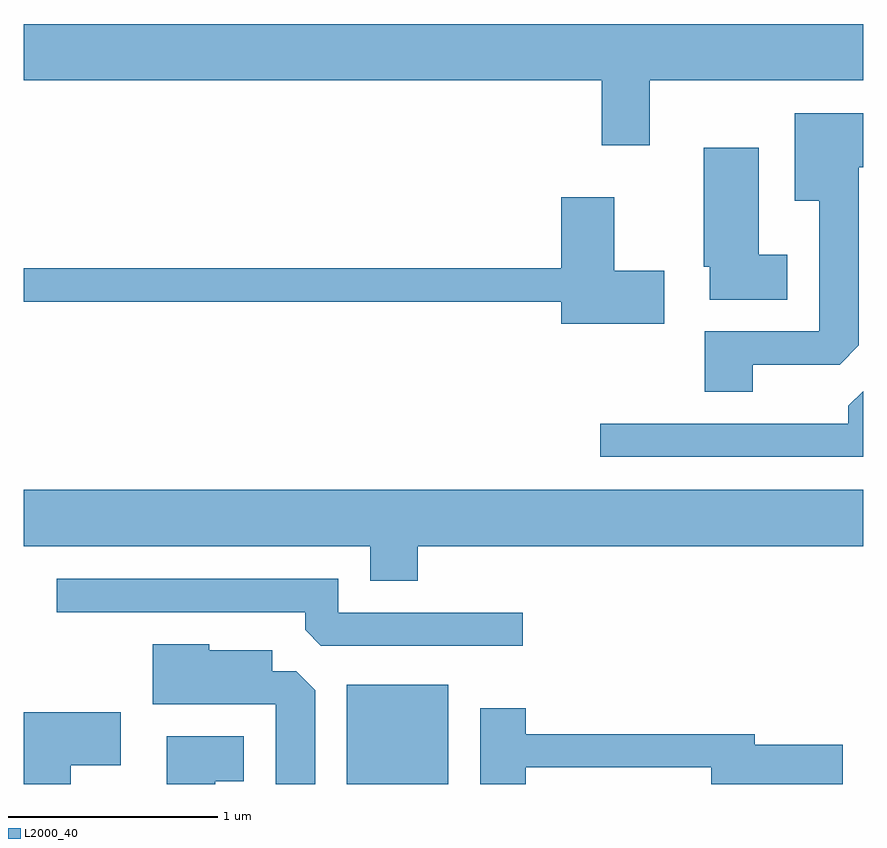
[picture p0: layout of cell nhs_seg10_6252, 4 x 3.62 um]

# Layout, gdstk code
import gdstk
lib = gdstk.Library(unit=1e-6, precision=1e-09)
def R(c, l, rs):  # rectangles x0, y0, x1, y1
    for r in rs: c.add(gdstk.rectangle(r[:2], r[2:], *l))
def P(c, l, *ps):  # polygons
    for p in ps: c.add(gdstk.Polygon(p, *l))
L2000_40 = (2000, 40)

nhs_seg10_6252 = lib.new_cell('nhs_seg10_6252')
R(nhs_seg10_6252, L2000_40, [(371.151,2150.522,371.634,2150.994)])
P(nhs_seg10_6252, L2000_40, [(372.594,2153.876),(373.611,2153.876),(373.611,2154.144),(369.611,2154.144),(369.611,2153.876),(372.366,2153.876),(372.366,2153.566),(372.594,2153.566)],
  [(373.084,2152.521),(373.499,2152.521),(373.589,2152.612),(373.589,2153.461),(373.611,2153.461),(373.611,2153.719),(373.286,2153.719),(373.286,2153.301),(373.401,2153.301),(373.401,2152.679),(372.856,2152.679),(372.856,2152.391),(373.084,2152.391)],
  [(373.249,2153.044),(373.114,2153.044),(373.114,2153.554),(372.851,2153.554),(372.851,2152.986),(372.881,2152.986),(372.881,2152.831),(373.249,2152.831)],
  [(372.664,2152.969),(372.424,2152.969),(372.424,2153.319),(372.171,2153.319),(372.171,2152.979),(369.611,2152.979),(369.611,2152.821),(372.171,2152.821),(372.171,2152.716),(372.664,2152.716)],
  [(373.611,2152.393),(373.541,2152.324),(373.541,2152.239),(372.358,2152.239),(372.358,2152.081),(373.611,2152.081)],
  [(371.489,2151.656),(373.611,2151.656),(373.611,2151.924),(369.611,2151.924),(369.611,2151.656),(371.261,2151.656),(371.261,2151.491),(371.489,2151.491)],
  [(371.988,2151.339),(371.109,2151.339),(371.109,2151.499),(369.768,2151.499),(369.768,2151.341),(370.951,2151.341),(370.951,2151.257),(371.027,2151.181),(371.988,2151.181)],
  [(370.999,2150.969),(370.909,2151.059),(370.794,2151.059),(370.794,2151.159),(370.494,2151.159),(370.494,2151.189),(370.226,2151.189),(370.226,2150.901),(370.811,2150.901),(370.811,2150.522),(370.999,2150.522)],
  [(372.004,2150.601),(372.886,2150.601),(372.886,2150.522),(373.514,2150.522),(373.514,2150.709),(373.094,2150.709),(373.094,2150.759),(372.004,2150.759),(372.004,2150.884),(371.786,2150.884),(371.786,2150.522),(372.004,2150.522)],
  [(369.834,2150.611),(370.074,2150.611),(370.074,2150.864),(369.611,2150.864),(369.611,2150.522),(369.834,2150.522)],
  [(370.524,2150.536),(370.659,2150.536),(370.659,2150.749),(370.291,2150.749),(370.291,2150.522),(370.524,2150.522)])

lib.write_gds('nhs_seg10_6252.gds')
